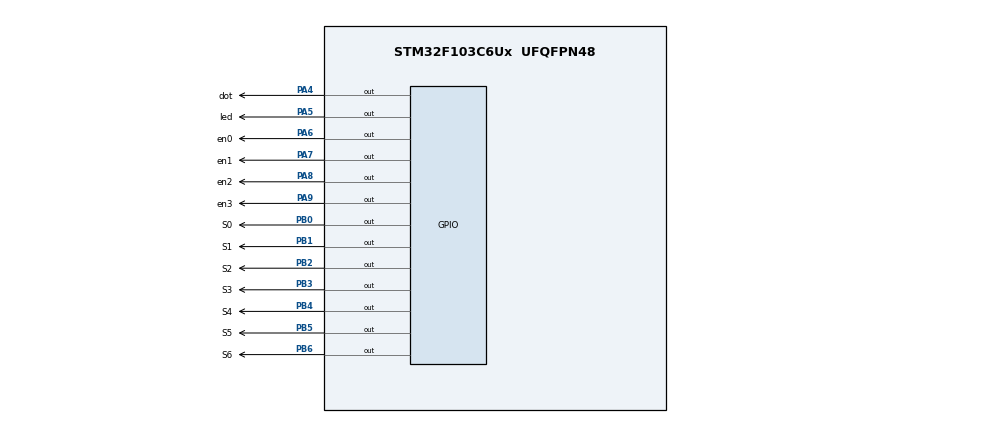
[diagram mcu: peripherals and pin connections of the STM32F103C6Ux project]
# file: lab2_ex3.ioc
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Mcu.Family=STM32F1
Mcu.Name=STM32F103C6Ux
Mcu.Package=UFQFPN48
NVIC.PriorityGroup=NVIC_PRIORITYGROUP_4
NVIC.TIM2_IRQn=true\:0\:0\:false\:false\:true\:true\:true
PA4.GPIO_Label=dot
PA4.Signal=GPIO_Output
PA5.GPIO_Label=led
PA5.Signal=GPIO_Output
PA6.GPIO_Label=en0
PA6.Signal=GPIO_Output
PA7.GPIO_Label=en1
PA7.Signal=GPIO_Output
PA8.GPIO_Label=en2
PA8.Signal=GPIO_Output
PA9.GPIO_Label=en3
PA9.Signal=GPIO_Output
PB0.GPIO_Label=S0
PB0.Signal=GPIO_Output
PB1.GPIO_Label=S1
PB1.Signal=GPIO_Output
PB2.GPIO_Label=S2
PB2.Signal=GPIO_Output
PB3.GPIO_Label=S3
PB3.Signal=GPIO_Output
PB4.GPIO_Label=S4
PB4.Signal=GPIO_Output
PB5.GPIO_Label=S5
PB5.Signal=GPIO_Output
PB6.GPIO_Label=S6
PB6.Signal=GPIO_Output
ProjectManager.HeapSize=0x200
ProjectManager.StackSize=0x400
ProjectManager.TargetToolchain=STM32CubeIDE
RCC.APB1Freq_Value=8000000
RCC.APB2Freq_Value=8000000
TIM2.Period=9
TIM2.Prescaler=7999
VP_SYS_VS_ND.Mode=No_Debug
VP_TIM2_VS_ClockSourceINT.Mode=Internal
board=custom

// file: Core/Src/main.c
/* USER CODE BEGIN Header */
/**
  ******************************************************************************
  * @file           : main.c
  * @brief          : Main program body
  ******************************************************************************
  * @attention
  *
  * <h2><center>&copy; Copyright (c) 2022 STMicroelectronics.
  * All rights reserved.</center></h2>
  *
  * This software component is licensed by ST under BSD 3-Clause license,
  * the "License"; You may not use this file except in compliance with the
  * License. You may obtain a copy of the License at:
  *                        opensource.org/licenses/BSD-3-Clause
  *
  ******************************************************************************
  */
/* USER CODE END Header */
#include "main.h"

TIM_HandleTypeDef htim2;

void SystemClock_Config(void);
static void MX_GPIO_Init(void);
static void MX_TIM2_Init(void);

int main(void)
{

  /* MCU Configuration--------------------------------------------------------*/

  /* Reset of all peripherals, Initializes the Flash interface and the Systick. */
  HAL_Init();

  /* Configure the system clock */
  SystemClock_Config();

  /* Initialize all configured peripherals */
  MX_GPIO_Init();
  MX_TIM2_Init();
  /* USER CODE BEGIN 2 */
  HAL_TIM_Base_Start_IT(& htim2);
  /* USER CODE END 2 */

  /* Infinite loop */
  while (1)
  {

  }
}

void SystemClock_Config(void)
{
  RCC_OscInitTypeDef RCC_OscInitStruct = {0};
  RCC_ClkInitTypeDef RCC_ClkInitStruct = {0};

  /** Initializes the RCC Oscillators according to the specified parameters
  * in the RCC_OscInitTypeDef structure.
  */
  RCC_OscInitStruct.OscillatorType = RCC_OSCILLATORTYPE_HSI;
  RCC_OscInitStruct.HSIState = RCC_HSI_ON;
  RCC_OscInitStruct.HSICalibrationValue = RCC_HSICALIBRATION_DEFAULT;
  RCC_OscInitStruct.PLL.PLLState = RCC_PLL_NONE;
  if (HAL_RCC_OscConfig(&RCC_OscInitStruct) != HAL_OK)
  {
    Error_Handler();
  }
  /** Initializes the CPU, AHB and APB buses clocks
  */
  RCC_ClkInitStruct.ClockType = RCC_CLOCKTYPE_HCLK|RCC_CLOCKTYPE_SYSCLK
                              |RCC_CLOCKTYPE_PCLK1|RCC_CLOCKTYPE_PCLK2;
  RCC_ClkInitStruct.SYSCLKSource = RCC_SYSCLKSOURCE_HSI;
  RCC_ClkInitStruct.AHBCLKDivider = RCC_SYSCLK_DIV1;
  RCC_ClkInitStruct.APB1CLKDivider = RCC_HCLK_DIV1;
  RCC_ClkInitStruct.APB2CLKDivider = RCC_HCLK_DIV1;

  if (HAL_RCC_ClockConfig(&RCC_ClkInitStruct, FLASH_LATENCY_0) != HAL_OK)
  {
    Error_Handler();
  }
}

static void MX_TIM2_Init(void)
{

  TIM_ClockConfigTypeDef sClockSourceConfig = {0};
  TIM_MasterConfigTypeDef sMasterConfig = {0};

  htim2.Instance = TIM2;
  htim2.Init.Prescaler = 7999;
  htim2.Init.CounterMode = TIM_COUNTERMODE_UP;
  htim2.Init.Period = 9;
  htim2.Init.ClockDivision = TIM_CLOCKDIVISION_DIV1;
  htim2.Init.AutoReloadPreload = TIM_AUTORELOAD_PRELOAD_DISABLE;
  if (HAL_TIM_Base_Init(&htim2) != HAL_OK)
  {
    Error_Handler();
  }
  sClockSourceConfig.ClockSource = TIM_CLOCKSOURCE_INTERNAL;
  if (HAL_TIM_ConfigClockSource(&htim2, &sClockSourceConfig) != HAL_OK)
  {
    Error_Handler();
  }
  sMasterConfig.MasterOutputTrigger = TIM_TRGO_RESET;
  sMasterConfig.MasterSlaveMode = TIM_MASTERSLAVEMODE_DISABLE;
  if (HAL_TIMEx_MasterConfigSynchronization(&htim2, &sMasterConfig) != HAL_OK)
  {
    Error_Handler();
  }

}

static void MX_GPIO_Init(void)
{
  GPIO_InitTypeDef GPIO_InitStruct = {0};

  /* GPIO Ports Clock Enable */
  __HAL_RCC_GPIOA_CLK_ENABLE();
  __HAL_RCC_GPIOB_CLK_ENABLE();

  /*Configure GPIO pin Output Level */
  HAL_GPIO_WritePin(GPIOA, dot_Pin|led_Pin|en0_Pin|en1_Pin
                          |en2_Pin|en3_Pin, GPIO_PIN_RESET);

  /*Configure GPIO pin Output Level */
  HAL_GPIO_WritePin(GPIOB, S0_Pin|S1_Pin|S2_Pin|S3_Pin
                          |S4_Pin|S5_Pin|S6_Pin, GPIO_PIN_RESET);

  /*Configure GPIO pins : dot_Pin led_Pin en0_Pin en1_Pin
                           en2_Pin en3_Pin */
  GPIO_InitStruct.Pin = dot_Pin|led_Pin|en0_Pin|en1_Pin
                          |en2_Pin|en3_Pin;
  GPIO_InitStruct.Mode = GPIO_MODE_OUTPUT_PP;
  GPIO_InitStruct.Pull = GPIO_NOPULL;
  GPIO_InitStruct.Speed = GPIO_SPEED_FREQ_LOW;
  HAL_GPIO_Init(GPIOA, &GPIO_InitStruct);

  /*Configure GPIO pins : S0_Pin S1_Pin S2_Pin S3_Pin
                           S4_Pin S5_Pin S6_Pin */
  GPIO_InitStruct.Pin = S0_Pin|S1_Pin|S2_Pin|S3_Pin
                          |S4_Pin|S5_Pin|S6_Pin;
  GPIO_InitStruct.Mode = GPIO_MODE_OUTPUT_PP;
  GPIO_InitStruct.Pull = GPIO_NOPULL;
  GPIO_InitStruct.Speed = GPIO_SPEED_FREQ_LOW;
  HAL_GPIO_Init(GPIOB, &GPIO_InitStruct);

}

/* USER CODE BEGIN 4 */
void display7SEG(int num) {
	int dis_arr[10] = { 0x3f, 0x06, 0x5b, 0x4f, 0x66, 0x6d, 0x7d, 0x07, 0x7f, 0x6f };
	int bit_var, var2;

	var2 = ~dis_arr[num];
	bit_var = var2 & 0x01;
	HAL_GPIO_WritePin(GPIOB, S0_Pin, bit_var);

	bit_var = (var2>>1) & 0x01;
	HAL_GPIO_WritePin(GPIOB, S1_Pin, bit_var);

	bit_var = (var2>>2) & 0x01;
	HAL_GPIO_WritePin(GPIOB, S2_Pin, bit_var);

	bit_var = (var2>>3) & 0x01;
	HAL_GPIO_WritePin(GPIOB, S3_Pin, bit_var);

	bit_var = (var2>>4) & 0x01;
	HAL_GPIO_WritePin(GPIOB, S4_Pin, bit_var);

	bit_var = (var2>>5) & 0x01;
	HAL_GPIO_WritePin(GPIOB, S5_Pin, bit_var);

	bit_var = (var2>>6) & 0x01;
	HAL_GPIO_WritePin(GPIOB, S6_Pin, bit_var);
}

const int MAX_LED = 4;
int index_led = 0;
int led_buffer[4] = {1, 2, 3, 4};
void update7SEG(int index) {
	switch(index) {
	case 0:
	// Display the first 7 SEG with led_buffer [0]
		display7SEG(led_buffer[index]);
		index_led = 1;
		HAL_GPIO_WritePin(GPIOA, en0_Pin, RESET);
		HAL_GPIO_WritePin(GPIOA, en1_Pin, SET);
		HAL_GPIO_WritePin(GPIOA, en2_Pin, SET);
		HAL_GPIO_WritePin(GPIOA, en3_Pin, SET);
		break ;
	case 1:
	 // Display the second 7 SEG with led_buffer [1]
		display7SEG(led_buffer[index]);
		index_led = 2;
		HAL_GPIO_WritePin(GPIOA, en0_Pin, SET);
		HAL_GPIO_WritePin(GPIOA, en1_Pin, RESET);
		HAL_GPIO_WritePin(GPIOA, en2_Pin, SET);
		HAL_GPIO_WritePin(GPIOA, en3_Pin, SET);
		break ;
	case 2:
	// Display the third 7 SEG with led_buffer [2]
		display7SEG(led_buffer[index]);
		index_led = 3;
		HAL_GPIO_WritePin(GPIOA, en0_Pin, SET);
		HAL_GPIO_WritePin(GPIOA, en1_Pin, SET);
		HAL_GPIO_WritePin(GPIOA, en2_Pin, RESET);
		HAL_GPIO_WritePin(GPIOA, en3_Pin, SET);
		break ;
	case 3:
	// Display the forth 7 SEG with led_buffer [3]
		display7SEG(led_buffer[index]);
		index_led = 0;
		HAL_GPIO_WritePin(GPIOA, en0_Pin, SET);
		HAL_GPIO_WritePin(GPIOA, en1_Pin, SET);
		HAL_GPIO_WritePin(GPIOA, en2_Pin, SET);
		HAL_GPIO_WritePin(GPIOA, en3_Pin, RESET);
		break ;
	default :
		break ;
	}
}

int counter = 50;
int counter_2_leds = 2;
void HAL_TIM_PeriodElapsedCallback(TIM_HandleTypeDef *htim) {
	counter--;
	if(counter <= 0) {
		counter = 50;
		counter_2_leds--;
		update7SEG(index_led);
		if(counter_2_leds <= 0) {
			HAL_GPIO_TogglePin(GPIOA, dot_Pin);
			counter_2_leds = 2;
		}
	}
}
/* USER CODE END 4 */

void Error_Handler(void)
{
  __disable_irq();
  while (1)
  {
  }
}

/************************ (C) COPYRIGHT STMicroelectronics *****END OF FILE****/
